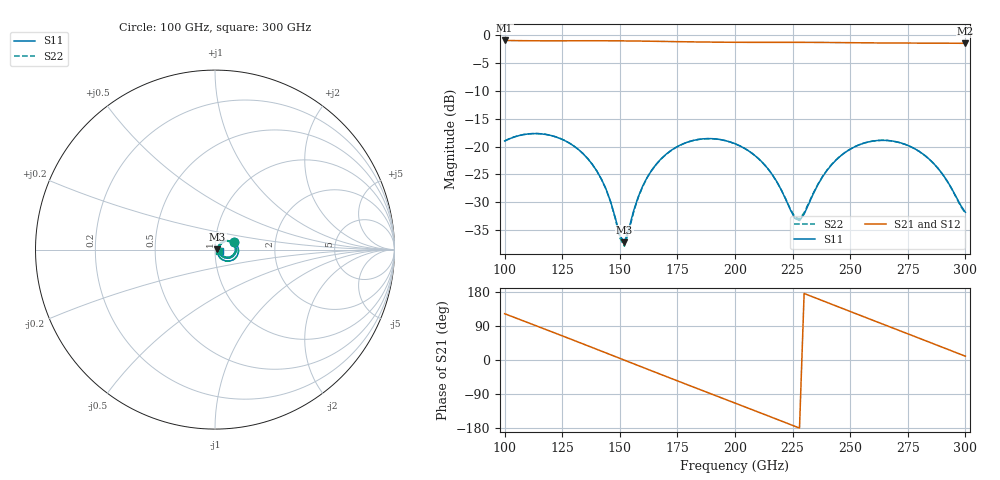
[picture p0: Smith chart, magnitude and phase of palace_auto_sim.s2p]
#  GHZ S DB R 50
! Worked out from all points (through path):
!   101 points, 100 GHz to 300 GHz, reference 50 ohm
!   highest |S21| = -0.93 dB at 100 GHz (marker M1); lowest = -1.4 dB at 300 GHz (marker M2)
!   group delay of S21, straight-line fit = 6.56 ps
!   lowest |S11| = -37.2 dB at 152 GHz (marker M3), VSWR 1.03, Z = 51.4 + j0.0855 ohm
!   |S11| at or under -10 dB: start of sweep to end of sweep
!   |S22| runs from -37.9 to -17.6 dB; largest |S21 - S12| = 1.5e-13
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100  -18.99 23.0  -0.93 122.2  -0.93 122.2  -18.98 22.5
116  -17.71 -10.2  -0.99 84.9  -0.99 84.9  -17.70 -10.7
124  -18.52 -26.8  -0.99 66.1  -0.99 66.1  -18.51 -27.4
134  -21.25 -46.4  -0.98 42.5  -0.98 42.5  -21.24 -47.2
144  -27.62 -58.6  -0.98 18.7  -0.98 18.7  -27.65 -60.2
150  -35.94 -32.3  -1.00 4.4  -1.00 4.4  -36.38 -35.2
152  -37.18 3.4  -1.01 -0.4  -1.01 -0.4  -37.88 3.2
160  -27.03 48.8  -1.04 -19.5  -1.04 -19.5  -27.12 49.8
168  -22.16 39.1  -1.09 -38.5  -1.09 -38.5  -22.20 39.7
184  -18.71 9.1  -1.19 -76.2  -1.19 -76.2  -18.72 9.4
200  -19.47 -21.1  -1.25 -113.7  -1.25 -113.7  -19.48 -20.8
214  -23.82 -41.8  -1.27 -146.6  -1.27 -146.6  -23.83 -41.3
226  -32.90 -14.9  -1.26 -174.9  -1.26 -174.9  -32.66 -14.0
228  -33.28 5.7  -1.27 -179.7  -1.27 -179.7  -32.98 5.7
234  -28.46 41.1  -1.27 166.0  -1.27 166.0  -28.33 40.1
240  -24.23 42.2  -1.29 151.8  -1.29 151.8  -24.18 41.4
248  -20.99 31.5  -1.32 132.8  -1.32 132.8  -20.97 30.9
258  -19.14 13.4  -1.36 109.2  -1.36 109.2  -19.14 12.8
268  -18.98 -5.7  -1.38 85.6  -1.38 85.6  -18.98 -6.3
276  -19.96 -20.4  -1.40 66.8  -1.40 66.8  -19.96 -21.0
286  -22.92 -35.3  -1.41 43.1  -1.41 43.1  -22.95 -36.1
300  -31.81 -11.5  -1.44 10.0  -1.44 10.0  -32.00 -12.1
